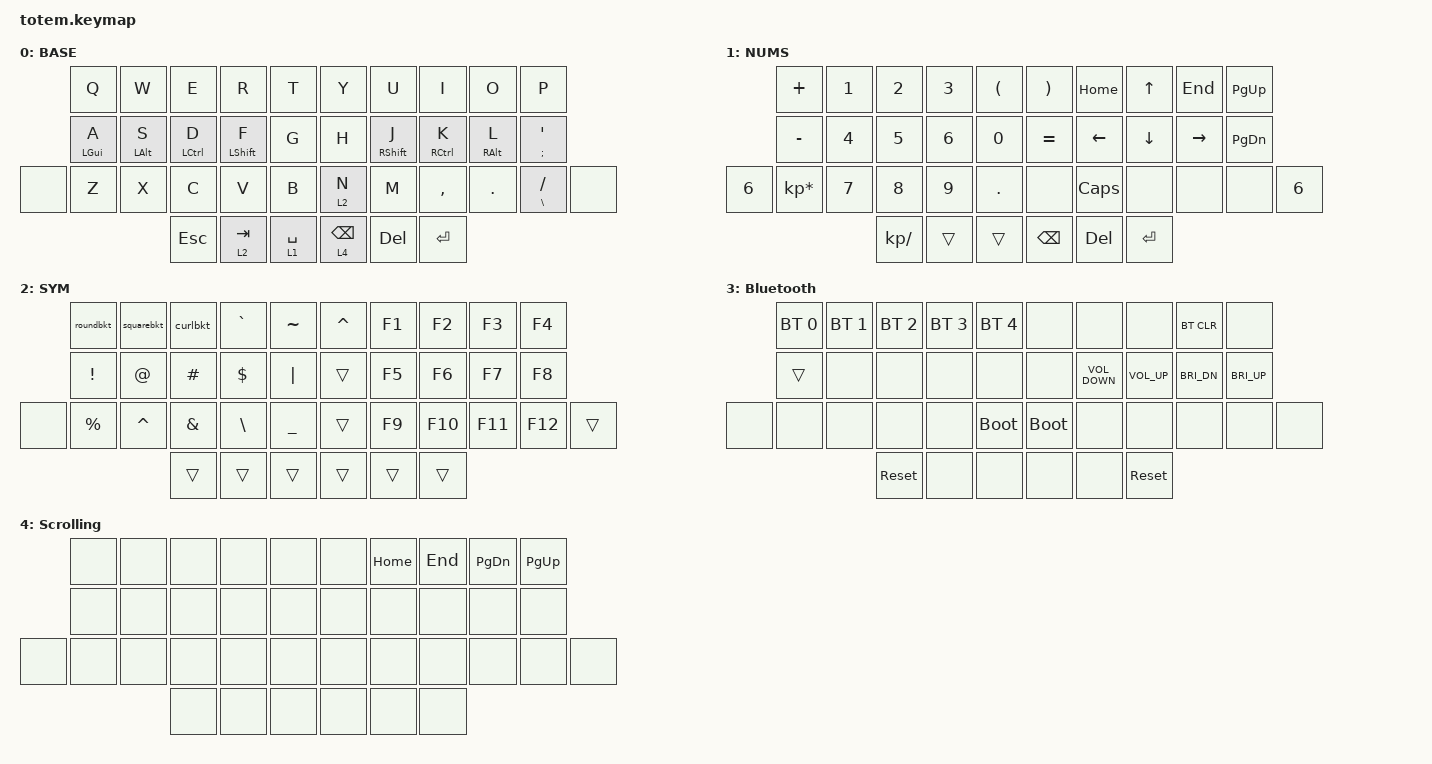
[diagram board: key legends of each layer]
//
//                                                        ▀▀▀▀▀     ▀▀▀▀▀          ▀▀█▀▀
//                                                        ▄▀▀▀▄  ▄  ▄▀▀▀▄  ▄  ▄▀▀▀▄  █  ▄▀▀▀▄
//                                                        █   █  █  █   █  █  █   █  █  █   █
//                                                         ▀▀▀   █   ▀▀▀   █   ▀▀▀   ▀   ▀▀▀
//                                                               █      ▄▄▄█▄▄▄    █   █  
//                                                               ▀      █  █  █     █▄█
//                                                             ▀▀▀▀▀    █  █  █      ▀
//                                                                      ▀  ▀  ▀,
//
// ▄▄▄▄▄▄▄▄▄▄▄▄▄▄▄▄▄▄▄▄▄▄▄▄▄▄▄▄▄▄▄▄▄▄▄▄▄▄▄▄▄▄▄▄▄▄▄▄▄▄▄▄▄▄▄▄▄▄▄▄▄▄▄▄▄▄▄▄▄▄▄▄▄▄▄▄▄▄▄▄▄▄▄▄▄▄▄▄▄▄▄▄▄▄▄▄▄▄▄▄▄▄▄▄▄▄▄▄▄▄▄▄▄▄▄▄▄▄▄▄▄▄▄▄▄▄▄▄▄▄▄▄▄▄▄▄▄▄▄▄▄▄▄▄▄▄▄▄▄

#include "zmk-helpers/helper.h"

#define HM_TAPPING_TERM 180
#define HM_TAPPING_TERM_FAST 75
#define HM_PRIOR_IDLE 120
#define COMBO_TERM_FAST 35
#define COMBO_TERM_SLOW 40
#define COMBO_PRIOR_IDLE 80
#define BASE 0
#define NUMS 1
#define DANGER 2

/* use helper macros to define left and right hand keys */

#include "zmk-helpers/key-labels/totem.h"                                   // key-position labels
#include <behaviors.dtsi>
#include <dt-bindings/zmk/bt.h>
#include <dt-bindings/zmk/keys.h>
#include <dt-bindings/zmk/pointing.h>

#define KEYS_L LT0 LT1 LT2 LT3 LT4 LM0 LM1 LM2 LM3 LM4 LB0 LB1 LB2 LB3 LB4  // left-hand keys
#define KEYS_R RT0 RT1 RT2 RT3 RT4 RM0 RM1 RM2 RM3 RM4 RB0 RB1 RB2 RB3 RB4  // right-hand keys
#define KEYS_T LH2 LH1 LH0 RH0 RH1 RH2                                      // thumb keys

&lt { tapping-term-ms = <175>; };

/ {
    combos {
        compatible = "zmk,combos";

        //INFO: Brackets and braces
        //INFO: System commands
        //INFO: Edit commands
        //INFO: Special characters

        layer_blu {
            bindings = <&mo 3>;
            key-positions = <34 35>;
        };
    };

    behaviors {
        hm_l: homerow_mods_left {
            compatible = "zmk,behavior-hold-tap";
            #binding-cells = <2>;
            bindings = <&kp>, <&kp>;

            tapping-term-ms = <HM_TAPPING_TERM>;
            quick-tap-ms = <HM_TAPPING_TERM_FAST>;
            hold-trigger-key-positions = <KEYS_R KEYS_T>;
            hold-trigger-on-release;
        };

        hm_r: homerow_mods_right {
            compatible = "zmk,behavior-hold-tap";
            #binding-cells = <2>;
            bindings = <&kp>, <&kp>;

            tapping-term-ms = <HM_TAPPING_TERM>;
            quick-tap-ms = <HM_TAPPING_TERM_FAST>;
            hold-trigger-key-positions = <KEYS_L KEYS_T>;
            hold-trigger-on-release;
        };
    };

    macros {
        roundbkt: roundbkt {
            compatible = "zmk,behavior-macro";
            #binding-cells = <0>;
            bindings = <&kp LEFT_PARENTHESIS &kp RIGHT_PARENTHESIS &kp LEFT>;
            label = "ROUNDBKT";
        };

        squarebkt: squarebkt {
            compatible = "zmk,behavior-macro";
            #binding-cells = <0>;
            bindings = <&kp LEFT_BRACKET &kp RIGHT_BRACKET &kp LEFT>;
            label = "SQUAREBKT";
        };

        curlbkt: curlbkt {
            compatible = "zmk,behavior-macro";
            #binding-cells = <0>;
            bindings = <&kp LEFT_BRACE &kp RIGHT_BRACE &kp LEFT>;
            label = "CURLBKT";
        };
    };

    keymap {
        compatible = "zmk,keymap";

        default_layer {
            display-name = "BASE";
            bindings = <
       &kp Q             &kp W         &kp E                 &kp R          &kp T          &kp Y       &kp U          &kp I                  &kp O         &kp P
       &hm_l LEFT_GUI A  &hm_l LALT S  &hm_l LEFT_CONTROL D  &hm_l LSHFT F  &kp G          &kp H       &hm_r RSHFT J  &hm_r RIGHT_CONTROL K  &hm_r RALT L  &hm_r SEMI SQT
&none  &kp Z             &kp X         &kp C                 &kp V          &kp B          &lt 2 N     &kp M          &kp COMMA              &kp DOT       &hm_r BACKSLASH SLASH  &none
                                       &kp ESC               &lt 2 TAB      &lt 1 SPACE    &lt 4 BSPC  &kp DEL        &kp ENTER
            >;
        };

        Numbers {
            display-name = "NUMS";
            bindings = <
              &kp PLUS         &kp NUMBER_1  &kp NUMBER_2   &kp NUMBER_3  &kp LEFT_PARENTHESIS    &kp RIGHT_PARENTHESIS  &kp HOME      &kp UP_ARROW  &kp END    &kp PAGE_UP
              &kp MINUS        &kp NUMBER_4  &kp N5         &kp NUMBER_6  &kp N0                  &kp EQUAL              &kp LEFT      &kp DOWN      &kp RIGHT  &kp PAGE_DOWN
&kp NUMBER_6  &kp KP_MULTIPLY  &kp NUMBER_7  &kp NUMBER_8   &kp N9        &kp PERIOD              &none                  &kp CAPSLOCK  &none         &none      &none          &kp NUMBER_6
                                             &kp KP_DIVIDE  &trans        &trans                  &kp BSPC               &kp DELETE    &kp ENTER
            >;
        };

        Symbols {
            display-name = "SYM";
            bindings = <
       &roundbkt    &squarebkt  &curlbkt       &kp GRAVE      &kp TILDE    &kp CARET  &kp F1  &kp F2   &kp F3   &kp F4
       &kp EXCL     &kp AT      &kp HASH       &kp DOLLAR     &kp PIPE     &trans     &kp F5  &kp F6   &kp F7   &kp F8
&none  &kp PERCENT  &kp CARET   &kp AMPERSAND  &kp BACKSLASH  &kp UNDER    &trans     &kp F9  &kp F10  &kp F11  &kp F12  &trans
                                &trans         &trans         &trans       &trans     &trans  &trans
            >;
        };

        Bluetooth {
            bindings = <
       &bt BT_SEL 0  &bt BT_SEL 1  &bt BT_SEL 2  &bt BT_SEL 3  &bt BT_SEL 4    &none        &none              &none            &bt BT_CLR    &none
       &trans        &none         &none         &none         &none           &none        &kp K_VOLUME_DOWN  &kp C_VOLUME_UP  &kp C_BRI_DN  &kp C_BRI_UP
&none  &none         &none         &none         &none         &bootloader     &bootloader  &none              &none            &none         &none         &none
                                   &sys_reset    &none         &none           &none        &none              &sys_reset
            >;
        };

        Scrolling {
            bindings = <
       &none  &none  &none  &none  &none    &none  &kp HOME  &kp END  &kp PG_DN  &kp PG_UP
       &none  &none  &none  &none  &none    &none  &none     &none    &none      &none
&none  &none  &none  &none  &none  &none    &none  &none     &none    &none      &none      &none
                     &none  &none  &none    &none  &none     &none
            >;
        };
    };
};
